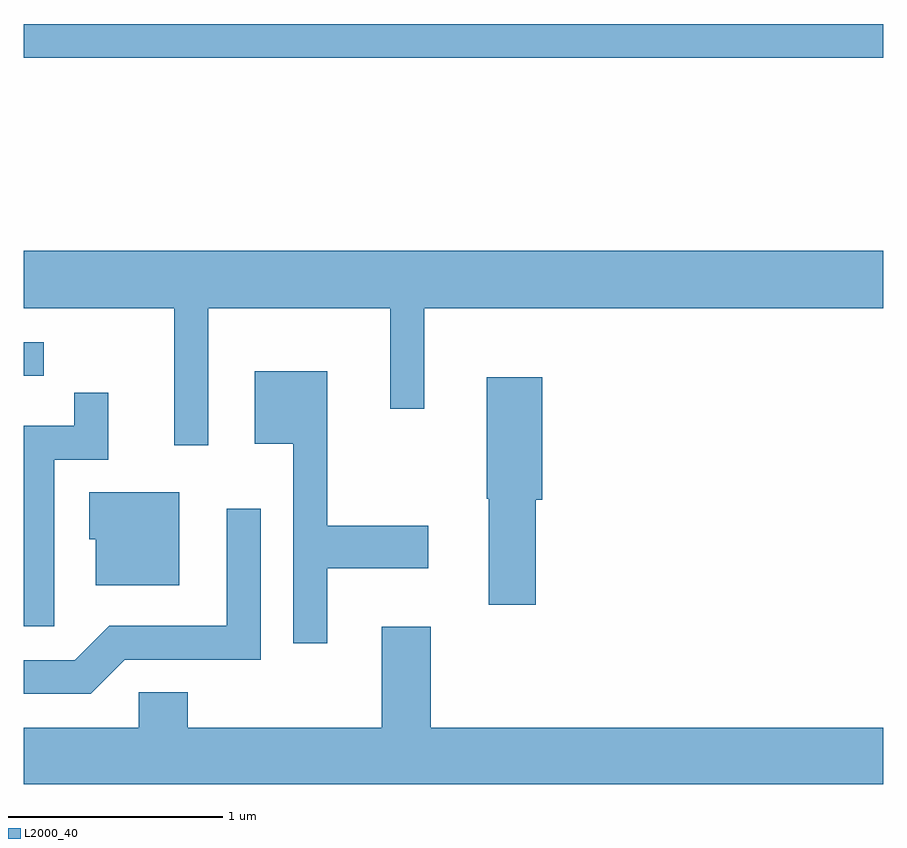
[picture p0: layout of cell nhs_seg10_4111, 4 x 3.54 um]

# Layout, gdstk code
import gdstk
lib = gdstk.Library(unit=1e-6, precision=1e-09)
def R(c, l, rs):  # rectangles x0, y0, x1, y1
    for r in rs: c.add(gdstk.rectangle(r[:2], r[2:], *l))
def P(c, l, *ps):  # polygons
    for p in ps: c.add(gdstk.Polygon(p, *l))
L2000_40 = (2000, 40)

nhs_seg10_4111 = lib.new_cell('nhs_seg10_4111')
R(nhs_seg10_4111, L2000_40, [(305.611,2182.421,305.703,2182.579), (305.611,2183.901,309.611,2184.059)])
P(nhs_seg10_4111, L2000_40, [(306.469,2182.736),(307.316,2182.736),(307.316,2182.268),(307.474,2182.268),(307.474,2182.736),(309.611,2182.736),(309.611,2183.004),(305.611,2183.004),(305.611,2182.736),(306.311,2182.736),(306.311,2182.098),(306.469,2182.098)],
  [(307.024,2181.526),(307.494,2181.526),(307.494,2181.724),(307.024,2181.724),(307.024,2182.444),(306.686,2182.444),(306.686,2182.106),(306.866,2182.106),(306.866,2181.178),(307.024,2181.178)],
  [(307.994,2181.846),(308.024,2181.846),(308.024,2182.414),(307.766,2182.414),(307.766,2181.85),(307.776,2181.85),(307.776,2181.356),(307.994,2181.356)],
  [(305.754,2182.031),(306.004,2182.031),(306.004,2182.343),(305.846,2182.343),(305.846,2182.189),(305.611,2182.189),(305.611,2181.256),(305.754,2181.256)],
  [(306.334,2181.879),(305.916,2181.879),(305.916,2181.661),(305.946,2181.661),(305.946,2181.446),(306.334,2181.446)],
  [(306.082,2181.101),(306.714,2181.101),(306.714,2181.803),(306.556,2181.803),(306.556,2181.259),(306.009,2181.259),(305.849,2181.099),(305.611,2181.099),(305.611,2180.941),(305.922,2180.941)],
  [(309.611,2180.784),(307.504,2180.784),(307.504,2181.254),(307.276,2181.254),(307.276,2180.784),(306.374,2180.784),(306.374,2180.949),(306.146,2180.949),(306.146,2180.784),(305.611,2180.784),(305.611,2180.522),(309.611,2180.522)])

lib.write_gds('nhs_seg10_4111.gds')
